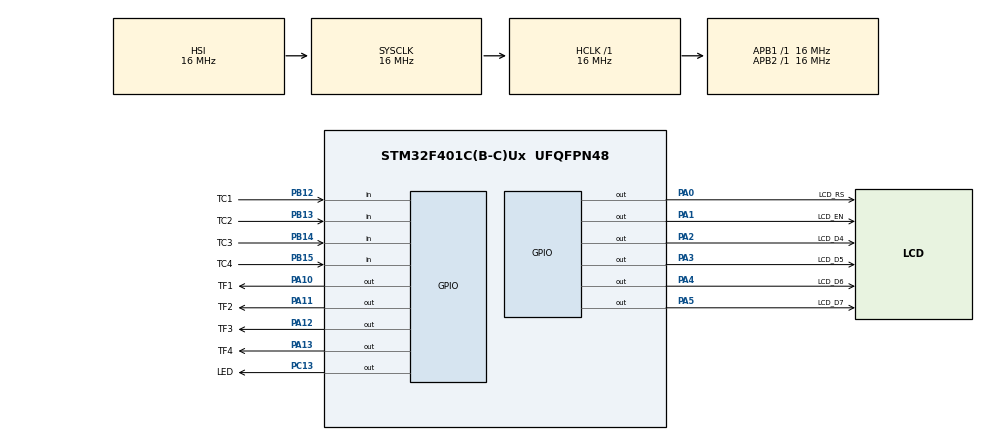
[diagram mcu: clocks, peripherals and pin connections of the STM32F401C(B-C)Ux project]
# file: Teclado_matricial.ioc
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Mcu.Family=STM32F4
Mcu.Name=STM32F401C(B-C)Ux
Mcu.Package=UFQFPN48
NVIC.PriorityGroup=NVIC_PRIORITYGROUP_4
PA0-WKUP.GPIO_Label=LCD_RS
PA0-WKUP.Signal=GPIO_Output
PA1.GPIO_Label=LCD_EN
PA1.Signal=GPIO_Output
PA10.GPIO_Label=TF1
PA10.Signal=GPIO_Output
PA11.GPIO_Label=TF2
PA11.Signal=GPIO_Output
PA12.GPIO_Label=TF3
PA12.Signal=GPIO_Output
PA13.GPIO_Label=TF4
PA13.Signal=GPIO_Output
PA2.GPIO_Label=LCD_D4
PA2.Signal=GPIO_Output
PA3.GPIO_Label=LCD_D5
PA3.Signal=GPIO_Output
PA4.GPIO_Label=LCD_D6
PA4.Signal=GPIO_Output
PA5.GPIO_Label=LCD_D7
PA5.Signal=GPIO_Output
PB12.GPIO_Label=TC1
PB12.GPIO_PuPd=GPIO_PULLDOWN
PB12.Signal=GPIO_Input
PB13.GPIO_Label=TC2
PB13.GPIO_PuPd=GPIO_PULLDOWN
PB13.Signal=GPIO_Input
PB14.GPIO_Label=TC3
PB14.GPIO_PuPd=GPIO_PULLDOWN
PB14.Signal=GPIO_Input
PB15.GPIO_Label=TC4
PB15.GPIO_PuPd=GPIO_PULLDOWN
PB15.Signal=GPIO_Input
PC13-ANTI_TAMP.GPIO_Label=LED
PC13-ANTI_TAMP.Signal=GPIO_Output
ProjectManager.HeapSize=0x200
ProjectManager.StackSize=0x400
ProjectManager.TargetToolchain=STM32CubeIDE
RCC.AHBFreq_Value=16000000
RCC.APB1Freq_Value=16000000
RCC.APB2Freq_Value=16000000
RCC.CortexFreq_Value=16000000
RCC.HSE_VALUE=25000000
RCC.HSI_VALUE=16000000
RCC.LSE_VALUE=32768
RCC.SYSCLKFreq_VALUE=16000000
RCC.VCOOutputFreq_Value=192000000
board=custom

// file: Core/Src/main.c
/* USER CODE BEGIN Header */
/**
  ******************************************************************************
  * @file           : main.c
  * @brief          : Main program body
  ******************************************************************************
  * @attention
  *
  * Copyright (c) 2023 STMicroelectronics.
  * All rights reserved.
  *
  * This software is licensed under terms that can be found in the LICENSE file
  * in the root directory of this software component.
  * If no LICENSE file comes with this software, it is provided AS-IS.
  *
  ******************************************************************************
  */
/* USER CODE END Header */
#include "main.h"

/* USER CODE BEGIN Includes */

#include "lcd.h"
#include "delays.h"
#include "Teclado.h"

#include "stdio.h"
#include "string.h"
#include "stdint.h"

/* USER CODE END Includes */

/* USER CODE BEGIN PV */
uint8_t tecla;
char texto[30];

/* USER CODE END PV */

void SystemClock_Config(void);
static void MX_GPIO_Init(void);

int main(void)
{

  /* MCU Configuration--------------------------------------------------------*/

  /* Reset of all peripherals, Initializes the Flash interface and the Systick. */
  HAL_Init();

  /* Configure the system clock */
  SystemClock_Config();

  /* Initialize all configured peripherals */
  MX_GPIO_Init();
  /* USER CODE BEGIN 2 */
  Lcd_Init();
  Lcd_Cmd(_LCD_CLEAR);
  Lcd_Cmd(_LCD_CURSOR_OFF);
  Lcd_Text(1, 1, "    TECLADO");
  Lcd_Text(2, 1, "Tecla=");

  /* USER CODE END 2 */

  /* Infinite loop */
  /* USER CODE BEGIN WHILE */
  while (1)
  {
	/* tecla=tecla_presionada();
    sprintf(texto,"Tecla=%02u",tecla);
    Lcd_Text(2, 1, texto);
*/
	  tecla=tecla_deco();

	  if (tecla!=0)
		  {
		  Lcd_Chr(2,7,tecla);
		   HAL_GPIO_WritePin(LED_GPIO_Port, LED_Pin, 1);
		   HAL_Delay(100);
		   HAL_GPIO_WritePin(LED_GPIO_Port, LED_Pin, 0);

		  }

    /* USER CODE END WHILE */

  }
}

void SystemClock_Config(void)
{
  RCC_OscInitTypeDef RCC_OscInitStruct = {0};
  RCC_ClkInitTypeDef RCC_ClkInitStruct = {0};

  /** Configure the main internal regulator output voltage
  */
  __HAL_RCC_PWR_CLK_ENABLE();
  __HAL_PWR_VOLTAGESCALING_CONFIG(PWR_REGULATOR_VOLTAGE_SCALE2);

  /** Initializes the RCC Oscillators according to the specified parameters
  * in the RCC_OscInitTypeDef structure.
  */
  RCC_OscInitStruct.OscillatorType = RCC_OSCILLATORTYPE_HSI;
  RCC_OscInitStruct.HSIState = RCC_HSI_ON;
  RCC_OscInitStruct.HSICalibrationValue = RCC_HSICALIBRATION_DEFAULT;
  RCC_OscInitStruct.PLL.PLLState = RCC_PLL_NONE;
  if (HAL_RCC_OscConfig(&RCC_OscInitStruct) != HAL_OK)
  {
    Error_Handler();
  }

  /** Initializes the CPU, AHB and APB buses clocks
  */
  RCC_ClkInitStruct.ClockType = RCC_CLOCKTYPE_HCLK|RCC_CLOCKTYPE_SYSCLK
                              |RCC_CLOCKTYPE_PCLK1|RCC_CLOCKTYPE_PCLK2;
  RCC_ClkInitStruct.SYSCLKSource = RCC_SYSCLKSOURCE_HSI;
  RCC_ClkInitStruct.AHBCLKDivider = RCC_SYSCLK_DIV1;
  RCC_ClkInitStruct.APB1CLKDivider = RCC_HCLK_DIV1;
  RCC_ClkInitStruct.APB2CLKDivider = RCC_HCLK_DIV1;

  if (HAL_RCC_ClockConfig(&RCC_ClkInitStruct, FLASH_LATENCY_0) != HAL_OK)
  {
    Error_Handler();
  }
}

static void MX_GPIO_Init(void)
{
  GPIO_InitTypeDef GPIO_InitStruct = {0};

  /* GPIO Ports Clock Enable */
  __HAL_RCC_GPIOC_CLK_ENABLE();
  __HAL_RCC_GPIOA_CLK_ENABLE();
  __HAL_RCC_GPIOB_CLK_ENABLE();

  /*Configure GPIO pin Output Level */
  HAL_GPIO_WritePin(LED_GPIO_Port, LED_Pin, GPIO_PIN_RESET);

  /*Configure GPIO pin Output Level */
  HAL_GPIO_WritePin(GPIOA, LCD_RS_Pin|LCD_EN_Pin|LCD_D4_Pin|LCD_D5_Pin
                          |LCD_D6_Pin|LCD_D7_Pin|TF1_Pin|TF2_Pin
                          |TF3_Pin|TF4_Pin, GPIO_PIN_RESET);

  /*Configure GPIO pin : LED_Pin */
  GPIO_InitStruct.Pin = LED_Pin;
  GPIO_InitStruct.Mode = GPIO_MODE_OUTPUT_PP;
  GPIO_InitStruct.Pull = GPIO_NOPULL;
  GPIO_InitStruct.Speed = GPIO_SPEED_FREQ_LOW;
  HAL_GPIO_Init(LED_GPIO_Port, &GPIO_InitStruct);

  /*Configure GPIO pins : LCD_RS_Pin LCD_EN_Pin LCD_D4_Pin LCD_D5_Pin
                           LCD_D6_Pin LCD_D7_Pin TF1_Pin TF2_Pin
                           TF3_Pin TF4_Pin */
  GPIO_InitStruct.Pin = LCD_RS_Pin|LCD_EN_Pin|LCD_D4_Pin|LCD_D5_Pin
                          |LCD_D6_Pin|LCD_D7_Pin|TF1_Pin|TF2_Pin
                          |TF3_Pin|TF4_Pin;
  GPIO_InitStruct.Mode = GPIO_MODE_OUTPUT_PP;
  GPIO_InitStruct.Pull = GPIO_NOPULL;
  GPIO_InitStruct.Speed = GPIO_SPEED_FREQ_LOW;
  HAL_GPIO_Init(GPIOA, &GPIO_InitStruct);

  /*Configure GPIO pins : TC1_Pin TC2_Pin TC3_Pin TC4_Pin */
  GPIO_InitStruct.Pin = TC1_Pin|TC2_Pin|TC3_Pin|TC4_Pin;
  GPIO_InitStruct.Mode = GPIO_MODE_INPUT;
  GPIO_InitStruct.Pull = GPIO_PULLDOWN;
  HAL_GPIO_Init(GPIOB, &GPIO_InitStruct);

}

void Error_Handler(void)
{
  __disable_irq();
  while (1)
  {
  }
}
